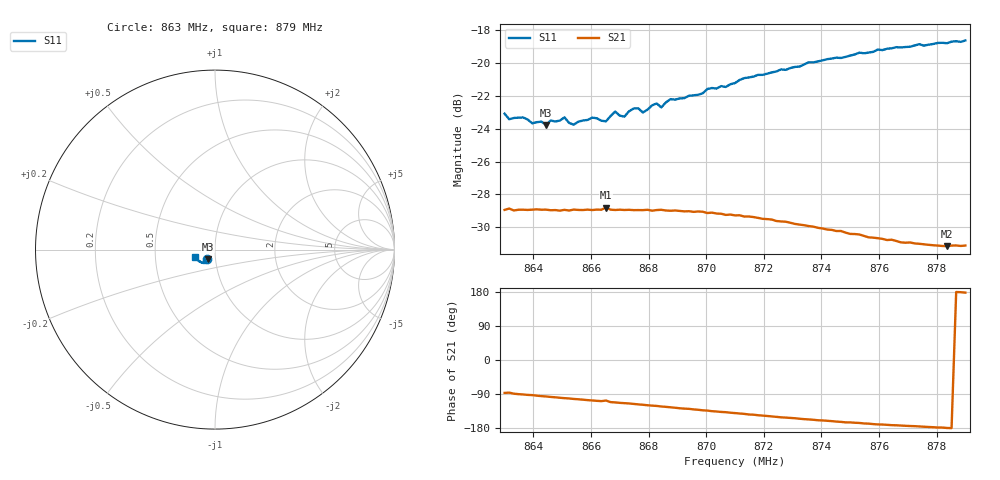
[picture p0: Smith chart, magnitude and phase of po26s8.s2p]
# HZ S RI R 50
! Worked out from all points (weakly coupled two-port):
!   101 points, 863 MHz to 879 MHz, reference 50 ohm
!   highest |S21| = -28.80 dB at 866.52 MHz (marker M1); lowest = -31.1 dB at 878.36 MHz (marker M2)
!   lowest |S11| = -23.8 dB at 864.44 MHz (marker M3), VSWR 1.14, Z = 46.1 - j4.88 ohm
!   |S11| at or under -10 dB: start of sweep to end of sweep
!   S12 and S22 are empty: the file has one direction only
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8.63e8  -0.0461 -0.0527  0.00197 -0.0357  0 0  0 0
8.6316e8  -0.0412 -0.0533  0.00247 -0.036  0 0  0 0
8.6364e8  -0.0416 -0.0541  -0.000573 -0.0358  0 0  0 0
8.6396e8  -0.0392 -0.0525  -0.00169 -0.0358  0 0  0 0
8.6444e8  -0.0377 -0.0527  -0.00387 -0.0356  0 0  0 0
8.6508e8  -0.0382 -0.0566  -0.00664 -0.0351  0 0  0 0
8.654e8  -0.0343 -0.0551  -0.00791 -0.0349  0 0  0 0
8.6572e8  -0.0352 -0.0568  -0.00906 -0.0345  0 0  0 0
8.6604e8  -0.0363 -0.0577  -0.0103 -0.0342  0 0  0 0
8.6652e8  -0.0293 -0.0596  -0.0106 -0.0347  0 0  0 0
8.6684e8  -0.0366 -0.061  -0.0134 -0.0331  0 0  0 0
8.6716e8  -0.0334 -0.06  -0.0145 -0.0326  0 0  0 0
8.6748e8  -0.0362 -0.063  -0.0156 -0.0321  0 0  0 0
8.678e8  -0.0341 -0.0619  -0.0168 -0.0315  0 0  0 0
8.6828e8  -0.0361 -0.066  -0.0185 -0.0305  0 0  0 0
8.6844e8  -0.0343 -0.0647  -0.0193 -0.0301  0 0  0 0
8.6876e8  -0.0387 -0.0672  -0.0203 -0.0292  0 0  0 0
8.71e8  -0.0474 -0.0727  -0.0264 -0.0221  0 0  0 0
8.7372e8  -0.0676 -0.0742  -0.0294 -0.0121  0 0  0 0
8.7644e8  -0.0921 -0.0614  -0.0287 -0.00406  0 0  0 0
8.7836e8  -0.1053 -0.0455  -0.0277 -0.000294  0 0  0 0
8.79e8  -0.11 -0.0397  -0.0278 0.00107  0 0  0 0
